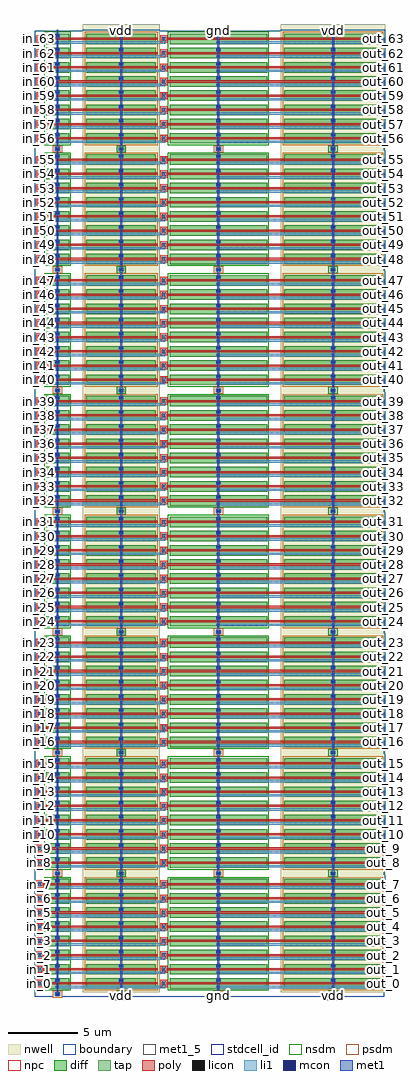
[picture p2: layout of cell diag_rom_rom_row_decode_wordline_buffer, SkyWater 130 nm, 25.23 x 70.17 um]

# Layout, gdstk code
from math import pi, radians
import gdstk
lib = gdstk.Library(unit=1e-6, precision=1e-09)
def R(c, l, rs):  # rectangles x0, y0, x1, y1
    for r in rs: c.add(gdstk.rectangle(r[:2], r[2:], *l))
def A(c, l, x, y, w, h, nx, ny, dx, dy):  # array of equal rectangles
    R(c, l, [(x+i*dx, y+j*dy, x+i*dx+w, y+j*dy+h) for i in range(nx) for j in range(ny)])
nwell = (64, 20)
diff = (65, 20)
tap = (65, 44)
poly = (66, 20)
licon = (66, 44)
li1 = (67, 20)
mcon = (67, 44)
met1_5 = (68, 5)
met1 = (68, 20)
stdcell_id = (81, 4)
nsdm = (93, 44)
psdm = (94, 20)
npc = (95, 20)
boundary = (235, 4)

diag_rom_contact_10 = lib.new_cell('diag_rom_contact_10')
R(diag_rom_contact_10, nwell, [(-0.295,-0.255,0.545,0.585)])
R(diag_rom_contact_10, diff, [(0,0.02,0.25,0.31)])
R(diag_rom_contact_10, licon, [(0.04,0.08,0.21,0.25)])
R(diag_rom_contact_10, li1, [(0.04,0,0.21,0.33)])
R(diag_rom_contact_10, stdcell_id, [(-0.295,-0.255,0.545,0.585)])
R(diag_rom_contact_10, psdm, [(-0.125,-0.105,0.375,0.435)])
R(diag_rom_contact_10, boundary, [(-0.295,-0.255,0.545,0.585)])

diag_rom_pmos_m1_w5_000_ = lib.new_cell('diag_rom_pmos_m1_w5_000_sli_dli_da_p')
R(diag_rom_pmos_m1_w5_000_, nwell, [(-0.27,-0.27,1.02,5.27)])
R(diag_rom_pmos_m1_w5_000_, diff, [(0,0,0.75,5)])
R(diag_rom_pmos_m1_w5_000_, poly, [(0.3,-0.13,0.45,5.13), (0.3,-0.13,0.45,5.13)])
R(diag_rom_pmos_m1_w5_000_, li1, [(0.04,2.335,0.21,2.665), (0.54,2.335,0.71,2.665)])
R(diag_rom_pmos_m1_w5_000_, stdcell_id, [(-0.27,-0.27,1.02,5.27)])
R(diag_rom_pmos_m1_w5_000_, psdm, [(-0.125,-0.125,0.875,5.125)])
R(diag_rom_pmos_m1_w5_000_, boundary, [(-0.27,-0.27,1.02,5.27)])
diag_rom_pmos_m1_w5_000_.add(gdstk.Reference(diag_rom_contact_10, (0,2.335)))
diag_rom_pmos_m1_w5_000_.add(gdstk.Reference(diag_rom_contact_10, (0.5,2.335)))
diag_rom_pmos_m1_w5_000_.add(gdstk.Label('G', (0.375,2.5), layer=66, texttype=5))
diag_rom_pmos_m1_w5_000_.add(gdstk.Label('S', (0.125,2.5), layer=67, texttype=5))
diag_rom_pmos_m1_w5_000_.add(gdstk.Label('D', (0.625,2.5), layer=67, texttype=5))

diag_rom_contact_8 = lib.new_cell('diag_rom_contact_8')
R(diag_rom_contact_8, diff, [(0,0.02,0.25,0.31)])
R(diag_rom_contact_8, licon, [(0.04,0.08,0.21,0.25)])
R(diag_rom_contact_8, li1, [(0.04,0,0.21,0.33)])
R(diag_rom_contact_8, stdcell_id, [(-0.125,-0.105,0.375,0.435)])
R(diag_rom_contact_8, nsdm, [(-0.125,-0.105,0.375,0.435)])
R(diag_rom_contact_8, boundary, [(-0.125,-0.105,0.375,0.435)])

diag_rom_nmos_m1_w1_680_ = lib.new_cell('diag_rom_nmos_m1_w1_680_sli_dli_da_p')
R(diag_rom_nmos_m1_w1_680_, diff, [(0,0,0.75,1.68)])
R(diag_rom_nmos_m1_w1_680_, poly, [(0.3,-0.13,0.45,1.81), (0.3,-0.13,0.45,1.81)])
R(diag_rom_nmos_m1_w1_680_, li1, [(0.04,0.675,0.21,1.005), (0.54,0.675,0.71,1.005)])
R(diag_rom_nmos_m1_w1_680_, stdcell_id, [(-0.125,-0.13,0.875,1.81)])
R(diag_rom_nmos_m1_w1_680_, nsdm, [(-0.125,-0.125,0.875,1.805)])
R(diag_rom_nmos_m1_w1_680_, boundary, [(-0.125,-0.13,0.875,1.81)])
diag_rom_nmos_m1_w1_680_.add(gdstk.Reference(diag_rom_contact_8, (0,0.675)))
diag_rom_nmos_m1_w1_680_.add(gdstk.Reference(diag_rom_contact_8, (0.5,0.675)))
diag_rom_nmos_m1_w1_680_.add(gdstk.Label('G', (0.375,0.84), layer=66, texttype=5))
diag_rom_nmos_m1_w1_680_.add(gdstk.Label('S', (0.125,0.84), layer=67, texttype=5))
diag_rom_nmos_m1_w1_680_.add(gdstk.Label('D', (0.625,0.84), layer=67, texttype=5))

diag_rom_contact_11 = lib.new_cell('diag_rom_contact_11')
R(diag_rom_contact_11, poly, [(0,0,0.33,0.33)])
R(diag_rom_contact_11, licon, [(0.08,0.08,0.25,0.25)])
R(diag_rom_contact_11, li1, [(0.08,0,0.25,0.33)])
R(diag_rom_contact_11, stdcell_id, [(-0.1,-0.1,0.43,0.43)])
R(diag_rom_contact_11, npc, [(-0.1,-0.1,0.43,0.43)])
R(diag_rom_contact_11, boundary, [(-0.1,-0.1,0.43,0.43)])

diag_rom_contact_12 = lib.new_cell('diag_rom_contact_12')
R(diag_rom_contact_12, li1, [(0.06,0,0.23,0.33)])
R(diag_rom_contact_12, mcon, [(0.06,0.08,0.23,0.25)])
R(diag_rom_contact_12, met1, [(0,0.05,0.29,0.28)])
R(diag_rom_contact_12, stdcell_id, [(0,0,0.29,0.33)])
R(diag_rom_contact_12, boundary, [(0,0,0.29,0.33)])

diag_rom_pinv_dec_0 = lib.new_cell('diag_rom_pinv_dec_0')
R(diag_rom_pinv_dec_0, nwell, [(3.46,0,9,1.495)])
R(diag_rom_pinv_dec_0, poly, [(0.385,0.345,0.68,0.495), (2.62,0.345,3.6,0.495)])
R(diag_rom_pinv_dec_0, li1, [(1.485,0.085,8.91,0.255), (0.3,0.255,0.47,0.585)])
R(diag_rom_pinv_dec_0, met1_5, [(1.58,0,1.72,1.02), (6.16,0,6.3,1.02)])
R(diag_rom_pinv_dec_0, met1, [(1.58,0,1.72,1.02), (6.16,0,6.3,1.02)])
R(diag_rom_pinv_dec_0, stdcell_id, [(0,0,8.91,1.02), (0,0,8.91,1.02)])
R(diag_rom_pinv_dec_0, nsdm, [(0.685,0,2.615,0.795)])
R(diag_rom_pinv_dec_0, psdm, [(3.605,0,8.855,0.795)])
R(diag_rom_pinv_dec_0, boundary, [(0,0,8.91,1.02), (0,0,8.91,1.02)])
diag_rom_pinv_dec_0.add(gdstk.Reference(diag_rom_pmos_m1_w5_000_, (3.73,0.795), rotation=3*pi/2))
diag_rom_pinv_dec_0.add(gdstk.Reference(diag_rom_nmos_m1_w1_680_, (0.81,0.795), rotation=3*pi/2))
diag_rom_pinv_dec_0.add(gdstk.Reference(diag_rom_contact_11, (0.22,0.255)))
diag_rom_pinv_dec_0.add(gdstk.Reference(diag_rom_contact_12, (1.505,0.505)))
diag_rom_pinv_dec_0.add(gdstk.Reference(diag_rom_contact_12, (6.085,0.505)))
diag_rom_pinv_dec_0.add(gdstk.Label('A', (0.385,0.42), layer=67, texttype=5))
diag_rom_pinv_dec_0.add(gdstk.Label('Z', (5.198,0.17), layer=67, texttype=5))
diag_rom_pinv_dec_0.add(gdstk.Label('gnd', (1.65,0.51), layer=68, texttype=5))
diag_rom_pinv_dec_0.add(gdstk.Label('vdd', (6.23,0.51), layer=68, texttype=5))

diag_rom_pmos_m1_w7_000_ = lib.new_cell('diag_rom_pmos_m1_w7_000_sli_dli_da_p')
R(diag_rom_pmos_m1_w7_000_, nwell, [(-0.27,-0.27,1.02,7.27)])
R(diag_rom_pmos_m1_w7_000_, diff, [(0,0,0.75,7)])
R(diag_rom_pmos_m1_w7_000_, poly, [(0.3,-0.13,0.45,7.13), (0.3,-0.13,0.45,7.13)])
R(diag_rom_pmos_m1_w7_000_, li1, [(0.04,3.335,0.21,3.665), (0.54,3.335,0.71,3.665)])
R(diag_rom_pmos_m1_w7_000_, stdcell_id, [(-0.27,-0.27,1.02,7.27)])
R(diag_rom_pmos_m1_w7_000_, psdm, [(-0.125,-0.125,0.875,7.125)])
R(diag_rom_pmos_m1_w7_000_, boundary, [(-0.27,-0.27,1.02,7.27)])
diag_rom_pmos_m1_w7_000_.add(gdstk.Reference(diag_rom_contact_10, (0,3.335)))
diag_rom_pmos_m1_w7_000_.add(gdstk.Reference(diag_rom_contact_10, (0.5,3.335)))
diag_rom_pmos_m1_w7_000_.add(gdstk.Label('G', (0.375,3.5), layer=66, texttype=5))
diag_rom_pmos_m1_w7_000_.add(gdstk.Label('S', (0.125,3.5), layer=67, texttype=5))
diag_rom_pmos_m1_w7_000_.add(gdstk.Label('D', (0.625,3.5), layer=67, texttype=5))

diag_rom_nmos_m1_w7_000_ = lib.new_cell('diag_rom_nmos_m1_w7_000_sli_dli_da_p')
R(diag_rom_nmos_m1_w7_000_, diff, [(0,0,0.75,7)])
R(diag_rom_nmos_m1_w7_000_, poly, [(0.3,-0.13,0.45,7.13), (0.3,-0.13,0.45,7.13)])
R(diag_rom_nmos_m1_w7_000_, li1, [(0.04,3.335,0.21,3.665), (0.54,3.335,0.71,3.665)])
R(diag_rom_nmos_m1_w7_000_, stdcell_id, [(-0.125,-0.13,0.875,7.13)])
R(diag_rom_nmos_m1_w7_000_, nsdm, [(-0.125,-0.125,0.875,7.125)])
R(diag_rom_nmos_m1_w7_000_, boundary, [(-0.125,-0.13,0.875,7.13)])
diag_rom_nmos_m1_w7_000_.add(gdstk.Reference(diag_rom_contact_8, (0,3.335)))
diag_rom_nmos_m1_w7_000_.add(gdstk.Reference(diag_rom_contact_8, (0.5,3.335)))
diag_rom_nmos_m1_w7_000_.add(gdstk.Label('G', (0.375,3.5), layer=66, texttype=5))
diag_rom_nmos_m1_w7_000_.add(gdstk.Label('S', (0.125,3.5), layer=67, texttype=5))
diag_rom_nmos_m1_w7_000_.add(gdstk.Label('D', (0.625,3.5), layer=67, texttype=5))

diag_rom_pinv_dec_1 = lib.new_cell('diag_rom_pinv_dec_1')
R(diag_rom_pinv_dec_1, nwell, [(8.78,0,16.32,1.495)])
R(diag_rom_pinv_dec_1, poly, [(0.385,0.345,0.68,0.495), (7.94,0.345,8.92,0.495)])
R(diag_rom_pinv_dec_1, li1, [(4.145,0.085,16.23,0.255), (0.3,0.255,0.47,0.585)])
R(diag_rom_pinv_dec_1, met1_5, [(4.24,0,4.38,1.02), (12.48,0,12.62,1.02)])
R(diag_rom_pinv_dec_1, met1, [(4.24,0,4.38,1.02), (12.48,0,12.62,1.02)])
R(diag_rom_pinv_dec_1, stdcell_id, [(0,0,16.23,1.02), (0,0,16.23,1.02)])
R(diag_rom_pinv_dec_1, nsdm, [(0.685,0,7.935,0.795)])
R(diag_rom_pinv_dec_1, psdm, [(8.925,0,16.175,0.795)])
R(diag_rom_pinv_dec_1, boundary, [(0,0,16.23,1.02), (0,0,16.23,1.02)])
diag_rom_pinv_dec_1.add(gdstk.Reference(diag_rom_pmos_m1_w7_000_, (9.05,0.795), rotation=3*pi/2))
diag_rom_pinv_dec_1.add(gdstk.Reference(diag_rom_nmos_m1_w7_000_, (0.81,0.795), rotation=3*pi/2))
diag_rom_pinv_dec_1.add(gdstk.Reference(diag_rom_contact_11, (0.22,0.255)))
diag_rom_pinv_dec_1.add(gdstk.Reference(diag_rom_contact_12, (4.165,0.505)))
diag_rom_pinv_dec_1.add(gdstk.Reference(diag_rom_contact_12, (12.405,0.505)))
diag_rom_pinv_dec_1.add(gdstk.Label('A', (0.385,0.42), layer=67, texttype=5))
diag_rom_pinv_dec_1.add(gdstk.Label('Z', (10.188,0.17), layer=67, texttype=5))
diag_rom_pinv_dec_1.add(gdstk.Label('gnd', (4.31,0.51), layer=68, texttype=5))
diag_rom_pinv_dec_1.add(gdstk.Label('vdd', (12.55,0.51), layer=68, texttype=5))

diag_rom_pbuf_dec = lib.new_cell('diag_rom_pbuf_dec')
R(diag_rom_pbuf_dec, li1, [(8.91,0.085,9.295,0.255), (9.21,0.085,9.38,0.255), (13.055,0.085,25.14,0.255), (9.21,0.17,9.38,0.42), (0.3,0.255,0.47,0.585), (9.21,0.335,9.38,0.505), (9.21,0.335,9.295,0.505)])
R(diag_rom_pbuf_dec, met1_5, [(1.58,0,1.72,1.02), (6.16,0,6.3,1.02), (13.15,0,13.29,1.02), (21.39,0,21.53,1.02)])
R(diag_rom_pbuf_dec, met1, [(1.58,0,1.72,1.02), (6.16,0,6.3,1.02), (13.15,0,13.29,1.02), (21.39,0,21.53,1.02)])
R(diag_rom_pbuf_dec, stdcell_id, [(0,0,25.14,1.02), (0,0,25.14,1.02)])
R(diag_rom_pbuf_dec, boundary, [(0,0,25.14,1.02), (0,0,25.14,1.02)])
diag_rom_pbuf_dec.add(gdstk.Reference(diag_rom_pinv_dec_0, (0,0)))
diag_rom_pbuf_dec.add(gdstk.Reference(diag_rom_pinv_dec_1, (8.91,0)))
diag_rom_pbuf_dec.add(gdstk.Label('Z', (19.098,0.17), layer=67, texttype=5))
diag_rom_pbuf_dec.add(gdstk.Label('A', (0.385,0.42), layer=67, texttype=5))
diag_rom_pbuf_dec.add(gdstk.Label('vdd', (6.23,0.51), layer=68, texttype=5))
diag_rom_pbuf_dec.add(gdstk.Label('vdd', (21.46,0.51), layer=68, texttype=5))
diag_rom_pbuf_dec.add(gdstk.Label('gnd', (1.65,0.51), layer=68, texttype=5))
diag_rom_pbuf_dec.add(gdstk.Label('gnd', (13.22,0.51), layer=68, texttype=5))

diag_rom_contact_15 = lib.new_cell('diag_rom_contact_15')
R(diag_rom_contact_15, nwell, [(-0.215,-0.295,0.625,0.545)])
R(diag_rom_contact_15, tap, [(0,0,0.41,0.25)])
R(diag_rom_contact_15, licon, [(0.12,0.04,0.29,0.21)])
R(diag_rom_contact_15, li1, [(0.04,0.04,0.37,0.21)])
R(diag_rom_contact_15, stdcell_id, [(-0.215,-0.295,0.625,0.545)])
R(diag_rom_contact_15, nsdm, [(-0.125,-0.125,0.535,0.375)])
R(diag_rom_contact_15, boundary, [(-0.215,-0.295,0.625,0.545)])

diag_rom_contact_17 = lib.new_cell('diag_rom_contact_17')
R(diag_rom_contact_17, li1, [(0,0.06,0.33,0.23)])
R(diag_rom_contact_17, mcon, [(0.08,0.06,0.25,0.23)])
R(diag_rom_contact_17, met1, [(0.05,0,0.28,0.29)])
R(diag_rom_contact_17, stdcell_id, [(0,0,0.33,0.29)])
R(diag_rom_contact_17, boundary, [(0,0,0.33,0.29)])

diag_rom_contact_16 = lib.new_cell('diag_rom_contact_16')
R(diag_rom_contact_16, tap, [(0,0,0.41,0.25)])
R(diag_rom_contact_16, licon, [(0.12,0.04,0.29,0.21)])
R(diag_rom_contact_16, li1, [(0.04,0.04,0.37,0.21)])
R(diag_rom_contact_16, stdcell_id, [(-0.125,-0.125,0.535,0.375)])
R(diag_rom_contact_16, psdm, [(-0.125,-0.125,0.535,0.375)])
R(diag_rom_contact_16, boundary, [(-0.125,-0.125,0.535,0.375)])

diag_rom_rom_row_decode_ = lib.new_cell('diag_rom_rom_row_decode_wordline_buffer')
A(diag_rom_rom_row_decode_, li1, 24.97, 0.69, 0.17, 0.335, 1, 8, 0, 1.02)
A(diag_rom_rom_row_decode_, li1, 0.3, 0.775, 0.17, 0.33, 1, 8, 0, 1.02)
A(diag_rom_rom_row_decode_, li1, 24.97, 0.855, 0.17, 0.17, 1, 8, 0, 1.02)
A(diag_rom_rom_row_decode_, li1, 24.97, 9.37, 0.17, 0.335, 1, 8, 0, 1.02)
A(diag_rom_rom_row_decode_, li1, 0.3, 9.455, 0.17, 0.33, 1, 8, 0, 1.02)
A(diag_rom_rom_row_decode_, li1, 24.97, 9.535, 0.17, 0.17, 1, 8, 0, 1.02)
A(diag_rom_rom_row_decode_, li1, 24.97, 18.05, 0.17, 0.335, 1, 8, 0, 1.02)
A(diag_rom_rom_row_decode_, li1, 0.3, 18.135, 0.17, 0.33, 1, 8, 0, 1.02)
A(diag_rom_rom_row_decode_, li1, 24.97, 18.215, 0.17, 0.17, 1, 8, 0, 1.02)
A(diag_rom_rom_row_decode_, li1, 24.97, 26.73, 0.17, 0.335, 1, 8, 0, 1.02)
A(diag_rom_rom_row_decode_, li1, 0.3, 26.815, 0.17, 0.33, 1, 8, 0, 1.02)
A(diag_rom_rom_row_decode_, li1, 24.97, 26.895, 0.17, 0.17, 1, 8, 0, 1.02)
A(diag_rom_rom_row_decode_, li1, 24.97, 35.41, 0.17, 0.335, 1, 8, 0, 1.02)
A(diag_rom_rom_row_decode_, li1, 0.3, 35.495, 0.17, 0.33, 1, 8, 0, 1.02)
A(diag_rom_rom_row_decode_, li1, 24.97, 35.575, 0.17, 0.17, 1, 8, 0, 1.02)
A(diag_rom_rom_row_decode_, li1, 24.97, 44.09, 0.17, 0.335, 1, 8, 0, 1.02)
A(diag_rom_rom_row_decode_, li1, 0.3, 44.175, 0.17, 0.33, 1, 8, 0, 1.02)
A(diag_rom_rom_row_decode_, li1, 24.97, 44.255, 0.17, 0.17, 1, 8, 0, 1.02)
A(diag_rom_rom_row_decode_, li1, 24.97, 52.77, 0.17, 0.335, 1, 8, 0, 1.02)
A(diag_rom_rom_row_decode_, li1, 0.3, 52.855, 0.17, 0.33, 1, 8, 0, 1.02)
A(diag_rom_rom_row_decode_, li1, 24.97, 52.935, 0.17, 0.17, 1, 8, 0, 1.02)
A(diag_rom_rom_row_decode_, li1, 24.97, 61.45, 0.17, 0.335, 1, 8, 0, 1.02)
A(diag_rom_rom_row_decode_, li1, 0.3, 61.535, 0.17, 0.33, 1, 8, 0, 1.02)
A(diag_rom_rom_row_decode_, li1, 24.97, 61.615, 0.17, 0.17, 1, 8, 0, 1.02)
R(diag_rom_rom_row_decode_, met1_5, [(1.58,0.03,1.72,0.17), (6.16,0.03,6.3,0.17), (13.15,0.03,13.29,0.17), (21.39,0.03,21.53,0.17), (1.58,69.37,1.72,69.51), (6.16,69.37,6.3,69.51), (13.15,69.37,13.29,69.51), (21.39,69.37,21.53,69.51)])
A(diag_rom_rom_row_decode_, met1, 1.58, 0.96, 0.14, 0.14, 1, 8, 0, 1.02)
A(diag_rom_rom_row_decode_, met1, 6.16, 0.96, 0.14, 0.14, 1, 8, 0, 1.02)
A(diag_rom_rom_row_decode_, met1, 13.15, 0.96, 0.14, 0.14, 1, 8, 0, 1.02)
A(diag_rom_rom_row_decode_, met1, 21.39, 0.96, 0.14, 0.14, 1, 8, 0, 1.02)
A(diag_rom_rom_row_decode_, met1, 1.58, 9.64, 0.14, 0.14, 1, 8, 0, 1.02)
A(diag_rom_rom_row_decode_, met1, 6.16, 9.64, 0.14, 0.14, 1, 8, 0, 1.02)
A(diag_rom_rom_row_decode_, met1, 13.15, 9.64, 0.14, 0.14, 1, 8, 0, 1.02)
A(diag_rom_rom_row_decode_, met1, 21.39, 9.64, 0.14, 0.14, 1, 8, 0, 1.02)
A(diag_rom_rom_row_decode_, met1, 1.58, 18.32, 0.14, 0.14, 1, 8, 0, 1.02)
A(diag_rom_rom_row_decode_, met1, 6.16, 18.32, 0.14, 0.14, 1, 8, 0, 1.02)
A(diag_rom_rom_row_decode_, met1, 13.15, 18.32, 0.14, 0.14, 1, 8, 0, 1.02)
A(diag_rom_rom_row_decode_, met1, 21.39, 18.32, 0.14, 0.14, 1, 8, 0, 1.02)
A(diag_rom_rom_row_decode_, met1, 1.58, 27, 0.14, 0.14, 1, 8, 0, 1.02)
A(diag_rom_rom_row_decode_, met1, 6.16, 27, 0.14, 0.14, 1, 8, 0, 1.02)
A(diag_rom_rom_row_decode_, met1, 13.15, 27, 0.14, 0.14, 1, 8, 0, 1.02)
A(diag_rom_rom_row_decode_, met1, 21.39, 27, 0.14, 0.14, 1, 8, 0, 1.02)
A(diag_rom_rom_row_decode_, met1, 1.58, 35.68, 0.14, 0.14, 1, 8, 0, 1.02)
A(diag_rom_rom_row_decode_, met1, 6.16, 35.68, 0.14, 0.14, 1, 8, 0, 1.02)
A(diag_rom_rom_row_decode_, met1, 13.15, 35.68, 0.14, 0.14, 1, 8, 0, 1.02)
A(diag_rom_rom_row_decode_, met1, 21.39, 35.68, 0.14, 0.14, 1, 8, 0, 1.02)
A(diag_rom_rom_row_decode_, met1, 1.58, 44.36, 0.14, 0.14, 1, 8, 0, 1.02)
A(diag_rom_rom_row_decode_, met1, 6.16, 44.36, 0.14, 0.14, 1, 8, 0, 1.02)
A(diag_rom_rom_row_decode_, met1, 13.15, 44.36, 0.14, 0.14, 1, 8, 0, 1.02)
A(diag_rom_rom_row_decode_, met1, 21.39, 44.36, 0.14, 0.14, 1, 8, 0, 1.02)
A(diag_rom_rom_row_decode_, met1, 1.58, 53.04, 0.14, 0.14, 1, 8, 0, 1.02)
A(diag_rom_rom_row_decode_, met1, 6.16, 53.04, 0.14, 0.14, 1, 8, 0, 1.02)
A(diag_rom_rom_row_decode_, met1, 13.15, 53.04, 0.14, 0.14, 1, 8, 0, 1.02)
A(diag_rom_rom_row_decode_, met1, 21.39, 53.04, 0.14, 0.14, 1, 8, 0, 1.02)
A(diag_rom_rom_row_decode_, met1, 1.58, 61.72, 0.14, 0.14, 1, 8, 0, 1.02)
A(diag_rom_rom_row_decode_, met1, 6.16, 61.72, 0.14, 0.14, 1, 8, 0, 1.02)
A(diag_rom_rom_row_decode_, met1, 13.15, 61.72, 0.14, 0.14, 1, 8, 0, 1.02)
A(diag_rom_rom_row_decode_, met1, 21.39, 61.72, 0.14, 0.14, 1, 8, 0, 1.02)
R(diag_rom_rom_row_decode_, met1, [(1.58,0.03,1.72,0.17), (1.58,0.03,1.72,69.51), (6.16,0.03,6.3,0.17), (6.16,0.03,6.3,69.51), (13.15,0.03,13.29,0.17), (13.15,0.03,13.29,69.51), (21.39,0.03,21.53,0.17), (21.39,0.03,21.53,69.51), (1.58,0.1,1.72,0.24), (6.16,0.1,6.3,0.24), (13.15,0.1,13.29,0.24), (21.39,0.1,21.53,0.24), (1.58,8.78,1.72,8.92), (6.16,8.78,6.3,8.92), (13.15,8.78,13.29,8.92), (21.39,8.78,21.53,8.92), (1.58,17.46,1.72,17.6), (6.16,17.46,6.3,17.6), (13.15,17.46,13.29,17.6), (21.39,17.46,21.53,17.6), (1.58,26.14,1.72,26.28), (6.16,26.14,6.3,26.28), (13.15,26.14,13.29,26.28), (21.39,26.14,21.53,26.28), (1.58,34.82,1.72,34.96), (6.16,34.82,6.3,34.96), (13.15,34.82,13.29,34.96), (21.39,34.82,21.53,34.96), (1.58,43.5,1.72,43.64), (6.16,43.5,6.3,43.64), (13.15,43.5,13.29,43.64), (21.39,43.5,21.53,43.64), (1.58,52.18,1.72,52.32), (6.16,52.18,6.3,52.32), (13.15,52.18,13.29,52.32), (21.39,52.18,21.53,52.32), (1.58,60.86,1.72,61), (6.16,60.86,6.3,61), (13.15,60.86,13.29,61), (21.39,60.86,21.53,61), (1.58,69.37,1.72,69.51), (6.16,69.37,6.3,69.51), (13.15,69.37,13.29,69.51), (21.39,69.37,21.53,69.51)])
R(diag_rom_rom_row_decode_, stdcell_id, [(0,0,25.14,65.28)])
R(diag_rom_rom_row_decode_, boundary, [(0,0,25.14,65.28)])
diag_rom_rom_row_decode_.add(gdstk.Reference(diag_rom_pbuf_dec, (0,0.52)))
diag_rom_rom_row_decode_.add(gdstk.Reference(diag_rom_pbuf_dec, (0,1.54)))
diag_rom_rom_row_decode_.add(gdstk.Reference(diag_rom_pbuf_dec, (0,2.56)))
diag_rom_rom_row_decode_.add(gdstk.Reference(diag_rom_pbuf_dec, (0,3.58)))
diag_rom_rom_row_decode_.add(gdstk.Reference(diag_rom_pbuf_dec, (0,4.6)))
diag_rom_rom_row_decode_.add(gdstk.Reference(diag_rom_pbuf_dec, (0,5.62)))
diag_rom_rom_row_decode_.add(gdstk.Reference(diag_rom_pbuf_dec, (0,6.64)))
diag_rom_rom_row_decode_.add(gdstk.Reference(diag_rom_pbuf_dec, (0,7.66)))
diag_rom_rom_row_decode_.add(gdstk.Reference(diag_rom_pbuf_dec, (0,9.2)))
diag_rom_rom_row_decode_.add(gdstk.Reference(diag_rom_pbuf_dec, (0,10.22)))
diag_rom_rom_row_decode_.add(gdstk.Reference(diag_rom_pbuf_dec, (0,11.24)))
diag_rom_rom_row_decode_.add(gdstk.Reference(diag_rom_pbuf_dec, (0,12.26)))
diag_rom_rom_row_decode_.add(gdstk.Reference(diag_rom_pbuf_dec, (0,13.28)))
diag_rom_rom_row_decode_.add(gdstk.Reference(diag_rom_pbuf_dec, (0,14.3)))
diag_rom_rom_row_decode_.add(gdstk.Reference(diag_rom_pbuf_dec, (0,15.32)))
diag_rom_rom_row_decode_.add(gdstk.Reference(diag_rom_pbuf_dec, (0,16.34)))
diag_rom_rom_row_decode_.add(gdstk.Reference(diag_rom_pbuf_dec, (0,17.88)))
diag_rom_rom_row_decode_.add(gdstk.Reference(diag_rom_pbuf_dec, (0,18.9)))
diag_rom_rom_row_decode_.add(gdstk.Reference(diag_rom_pbuf_dec, (0,19.92)))
diag_rom_rom_row_decode_.add(gdstk.Reference(diag_rom_pbuf_dec, (0,20.94)))
diag_rom_rom_row_decode_.add(gdstk.Reference(diag_rom_pbuf_dec, (0,21.96)))
diag_rom_rom_row_decode_.add(gdstk.Reference(diag_rom_pbuf_dec, (0,22.98)))
diag_rom_rom_row_decode_.add(gdstk.Reference(diag_rom_pbuf_dec, (0,24)))
diag_rom_rom_row_decode_.add(gdstk.Reference(diag_rom_pbuf_dec, (0,25.02)))
diag_rom_rom_row_decode_.add(gdstk.Reference(diag_rom_pbuf_dec, (0,26.56)))
diag_rom_rom_row_decode_.add(gdstk.Reference(diag_rom_pbuf_dec, (0,27.58)))
diag_rom_rom_row_decode_.add(gdstk.Reference(diag_rom_pbuf_dec, (0,28.6)))
diag_rom_rom_row_decode_.add(gdstk.Reference(diag_rom_pbuf_dec, (0,29.62)))
diag_rom_rom_row_decode_.add(gdstk.Reference(diag_rom_pbuf_dec, (0,30.64)))
diag_rom_rom_row_decode_.add(gdstk.Reference(diag_rom_pbuf_dec, (0,31.66)))
diag_rom_rom_row_decode_.add(gdstk.Reference(diag_rom_pbuf_dec, (0,32.68)))
diag_rom_rom_row_decode_.add(gdstk.Reference(diag_rom_pbuf_dec, (0,33.7)))
diag_rom_rom_row_decode_.add(gdstk.Reference(diag_rom_pbuf_dec, (0,35.24)))
diag_rom_rom_row_decode_.add(gdstk.Reference(diag_rom_pbuf_dec, (0,36.26)))
diag_rom_rom_row_decode_.add(gdstk.Reference(diag_rom_pbuf_dec, (0,37.28)))
diag_rom_rom_row_decode_.add(gdstk.Reference(diag_rom_pbuf_dec, (0,38.3)))
diag_rom_rom_row_decode_.add(gdstk.Reference(diag_rom_pbuf_dec, (0,39.32)))
diag_rom_rom_row_decode_.add(gdstk.Reference(diag_rom_pbuf_dec, (0,40.34)))
diag_rom_rom_row_decode_.add(gdstk.Reference(diag_rom_pbuf_dec, (0,41.36)))
diag_rom_rom_row_decode_.add(gdstk.Reference(diag_rom_pbuf_dec, (0,42.38)))
diag_rom_rom_row_decode_.add(gdstk.Reference(diag_rom_pbuf_dec, (0,43.92)))
diag_rom_rom_row_decode_.add(gdstk.Reference(diag_rom_pbuf_dec, (0,44.94)))
diag_rom_rom_row_decode_.add(gdstk.Reference(diag_rom_pbuf_dec, (0,45.96)))
diag_rom_rom_row_decode_.add(gdstk.Reference(diag_rom_pbuf_dec, (0,46.98)))
diag_rom_rom_row_decode_.add(gdstk.Reference(diag_rom_pbuf_dec, (0,48)))
diag_rom_rom_row_decode_.add(gdstk.Reference(diag_rom_pbuf_dec, (0,49.02)))
diag_rom_rom_row_decode_.add(gdstk.Reference(diag_rom_pbuf_dec, (0,50.04)))
diag_rom_rom_row_decode_.add(gdstk.Reference(diag_rom_pbuf_dec, (0,51.06)))
diag_rom_rom_row_decode_.add(gdstk.Reference(diag_rom_pbuf_dec, (0,52.6)))
diag_rom_rom_row_decode_.add(gdstk.Reference(diag_rom_pbuf_dec, (0,53.62)))
diag_rom_rom_row_decode_.add(gdstk.Reference(diag_rom_pbuf_dec, (0,54.64)))
diag_rom_rom_row_decode_.add(gdstk.Reference(diag_rom_pbuf_dec, (0,55.66)))
diag_rom_rom_row_decode_.add(gdstk.Reference(diag_rom_pbuf_dec, (0,56.68)))
diag_rom_rom_row_decode_.add(gdstk.Reference(diag_rom_pbuf_dec, (0,57.7)))
diag_rom_rom_row_decode_.add(gdstk.Reference(diag_rom_pbuf_dec, (0,58.72)))
diag_rom_rom_row_decode_.add(gdstk.Reference(diag_rom_pbuf_dec, (0,59.74)))
diag_rom_rom_row_decode_.add(gdstk.Reference(diag_rom_pbuf_dec, (0,61.28)))
diag_rom_rom_row_decode_.add(gdstk.Reference(diag_rom_pbuf_dec, (0,62.3)))
diag_rom_rom_row_decode_.add(gdstk.Reference(diag_rom_pbuf_dec, (0,63.32)))
diag_rom_rom_row_decode_.add(gdstk.Reference(diag_rom_pbuf_dec, (0,64.34)))
diag_rom_rom_row_decode_.add(gdstk.Reference(diag_rom_pbuf_dec, (0,65.36)))
diag_rom_rom_row_decode_.add(gdstk.Reference(diag_rom_pbuf_dec, (0,66.38)))
diag_rom_rom_row_decode_.add(gdstk.Reference(diag_rom_pbuf_dec, (0,67.4)))
diag_rom_rom_row_decode_.add(gdstk.Reference(diag_rom_pbuf_dec, (0,68.42)))
diag_rom_rom_row_decode_.add(gdstk.Reference(diag_rom_contact_15, (6.025,0.045)))
diag_rom_rom_row_decode_.add(gdstk.Reference(diag_rom_contact_17, (6.065,0.025)))
diag_rom_rom_row_decode_.add(gdstk.Reference(diag_rom_contact_16, (1.445,0.045)))
diag_rom_rom_row_decode_.add(gdstk.Reference(diag_rom_contact_17, (1.485,0.025)))
diag_rom_rom_row_decode_.add(gdstk.Reference(diag_rom_contact_15, (21.255,0.045)))
diag_rom_rom_row_decode_.add(gdstk.Reference(diag_rom_contact_17, (21.295,0.025)))
diag_rom_rom_row_decode_.add(gdstk.Reference(diag_rom_contact_16, (13.015,0.045)))
diag_rom_rom_row_decode_.add(gdstk.Reference(diag_rom_contact_17, (13.055,0.025)))
diag_rom_rom_row_decode_.add(gdstk.Reference(diag_rom_contact_15, (6.025,8.725)))
diag_rom_rom_row_decode_.add(gdstk.Reference(diag_rom_contact_17, (6.065,8.705)))
diag_rom_rom_row_decode_.add(gdstk.Reference(diag_rom_contact_16, (1.445,8.725)))
diag_rom_rom_row_decode_.add(gdstk.Reference(diag_rom_contact_17, (1.485,8.705)))
diag_rom_rom_row_decode_.add(gdstk.Reference(diag_rom_contact_15, (21.255,8.725)))
diag_rom_rom_row_decode_.add(gdstk.Reference(diag_rom_contact_17, (21.295,8.705)))
diag_rom_rom_row_decode_.add(gdstk.Reference(diag_rom_contact_16, (13.015,8.725)))
diag_rom_rom_row_decode_.add(gdstk.Reference(diag_rom_contact_17, (13.055,8.705)))
diag_rom_rom_row_decode_.add(gdstk.Reference(diag_rom_contact_15, (6.025,17.405)))
diag_rom_rom_row_decode_.add(gdstk.Reference(diag_rom_contact_17, (6.065,17.385)))
diag_rom_rom_row_decode_.add(gdstk.Reference(diag_rom_contact_16, (1.445,17.405)))
diag_rom_rom_row_decode_.add(gdstk.Reference(diag_rom_contact_17, (1.485,17.385)))
diag_rom_rom_row_decode_.add(gdstk.Reference(diag_rom_contact_15, (21.255,17.405)))
diag_rom_rom_row_decode_.add(gdstk.Reference(diag_rom_contact_17, (21.295,17.385)))
diag_rom_rom_row_decode_.add(gdstk.Reference(diag_rom_contact_16, (13.015,17.405)))
diag_rom_rom_row_decode_.add(gdstk.Reference(diag_rom_contact_17, (13.055,17.385)))
diag_rom_rom_row_decode_.add(gdstk.Reference(diag_rom_contact_15, (6.025,26.085)))
diag_rom_rom_row_decode_.add(gdstk.Reference(diag_rom_contact_17, (6.065,26.065)))
diag_rom_rom_row_decode_.add(gdstk.Reference(diag_rom_contact_16, (1.445,26.085)))
diag_rom_rom_row_decode_.add(gdstk.Reference(diag_rom_contact_17, (1.485,26.065)))
diag_rom_rom_row_decode_.add(gdstk.Reference(diag_rom_contact_15, (21.255,26.085)))
diag_rom_rom_row_decode_.add(gdstk.Reference(diag_rom_contact_17, (21.295,26.065)))
diag_rom_rom_row_decode_.add(gdstk.Reference(diag_rom_contact_16, (13.015,26.085)))
diag_rom_rom_row_decode_.add(gdstk.Reference(diag_rom_contact_17, (13.055,26.065)))
diag_rom_rom_row_decode_.add(gdstk.Reference(diag_rom_contact_15, (6.025,34.765)))
diag_rom_rom_row_decode_.add(gdstk.Reference(diag_rom_contact_17, (6.065,34.745)))
diag_rom_rom_row_decode_.add(gdstk.Reference(diag_rom_contact_16, (1.445,34.765)))
diag_rom_rom_row_decode_.add(gdstk.Reference(diag_rom_contact_17, (1.485,34.745)))
diag_rom_rom_row_decode_.add(gdstk.Reference(diag_rom_contact_15, (21.255,34.765)))
diag_rom_rom_row_decode_.add(gdstk.Reference(diag_rom_contact_17, (21.295,34.745)))
diag_rom_rom_row_decode_.add(gdstk.Reference(diag_rom_contact_16, (13.015,34.765)))
diag_rom_rom_row_decode_.add(gdstk.Reference(diag_rom_contact_17, (13.055,34.745)))
diag_rom_rom_row_decode_.add(gdstk.Reference(diag_rom_contact_15, (6.025,43.445)))
diag_rom_rom_row_decode_.add(gdstk.Reference(diag_rom_contact_17, (6.065,43.425)))
diag_rom_rom_row_decode_.add(gdstk.Reference(diag_rom_contact_16, (1.445,43.445)))
diag_rom_rom_row_decode_.add(gdstk.Reference(diag_rom_contact_17, (1.485,43.425)))
diag_rom_rom_row_decode_.add(gdstk.Reference(diag_rom_contact_15, (21.255,43.445)))
diag_rom_rom_row_decode_.add(gdstk.Reference(diag_rom_contact_17, (21.295,43.425)))
diag_rom_rom_row_decode_.add(gdstk.Reference(diag_rom_contact_16, (13.015,43.445)))
diag_rom_rom_row_decode_.add(gdstk.Reference(diag_rom_contact_17, (13.055,43.425)))
diag_rom_rom_row_decode_.add(gdstk.Reference(diag_rom_contact_15, (6.025,52.125)))
diag_rom_rom_row_decode_.add(gdstk.Reference(diag_rom_contact_17, (6.065,52.105)))
diag_rom_rom_row_decode_.add(gdstk.Reference(diag_rom_contact_16, (1.445,52.125)))
diag_rom_rom_row_decode_.add(gdstk.Reference(diag_rom_contact_17, (1.485,52.105)))
diag_rom_rom_row_decode_.add(gdstk.Reference(diag_rom_contact_15, (21.255,52.125)))
diag_rom_rom_row_decode_.add(gdstk.Reference(diag_rom_contact_17, (21.295,52.105)))
diag_rom_rom_row_decode_.add(gdstk.Reference(diag_rom_contact_16, (13.015,52.125)))
diag_rom_rom_row_decode_.add(gdstk.Reference(diag_rom_contact_17, (13.055,52.105)))
diag_rom_rom_row_decode_.add(gdstk.Reference(diag_rom_contact_15, (6.025,60.805)))
diag_rom_rom_row_decode_.add(gdstk.Reference(diag_rom_contact_17, (6.065,60.785)))
diag_rom_rom_row_decode_.add(gdstk.Reference(diag_rom_contact_16, (1.445,60.805)))
diag_rom_rom_row_decode_.add(gdstk.Reference(diag_rom_contact_17, (1.485,60.785)))
diag_rom_rom_row_decode_.add(gdstk.Reference(diag_rom_contact_15, (21.255,60.805)))
diag_rom_rom_row_decode_.add(gdstk.Reference(diag_rom_contact_17, (21.295,60.785)))
diag_rom_rom_row_decode_.add(gdstk.Reference(diag_rom_contact_16, (13.015,60.805)))
diag_rom_rom_row_decode_.add(gdstk.Reference(diag_rom_contact_17, (13.055,60.785)))
diag_rom_rom_row_decode_.add(gdstk.Label('in_0', (0.385,0.94), layer=67, texttype=5))
diag_rom_rom_row_decode_.add(gdstk.Label('out_0', (25.055,0.94), layer=67, texttype=5))
diag_rom_rom_row_decode_.add(gdstk.Label('in_1', (0.385,1.96), layer=67, texttype=5))
diag_rom_rom_row_decode_.add(gdstk.Label('out_1', (25.055,1.96), layer=67, texttype=5))
diag_rom_rom_row_decode_.add(gdstk.Label('in_2', (0.385,2.98), layer=67, texttype=5))
diag_rom_rom_row_decode_.add(gdstk.Label('out_2', (25.055,2.98), layer=67, texttype=5))
diag_rom_rom_row_decode_.add(gdstk.Label('in_3', (0.385,4), layer=67, texttype=5))
diag_rom_rom_row_decode_.add(gdstk.Label('out_3', (25.055,4), layer=67, texttype=5))
diag_rom_rom_row_decode_.add(gdstk.Label('in_4', (0.385,5.02), layer=67, texttype=5))
diag_rom_rom_row_decode_.add(gdstk.Label('out_4', (25.055,5.02), layer=67, texttype=5))
diag_rom_rom_row_decode_.add(gdstk.Label('in_5', (0.385,6.04), layer=67, texttype=5))
diag_rom_rom_row_decode_.add(gdstk.Label('out_5', (25.055,6.04), layer=67, texttype=5))
diag_rom_rom_row_decode_.add(gdstk.Label('in_6', (0.385,7.06), layer=67, texttype=5))
diag_rom_rom_row_decode_.add(gdstk.Label('out_6', (25.055,7.06), layer=67, texttype=5))
diag_rom_rom_row_decode_.add(gdstk.Label('in_7', (0.385,8.08), layer=67, texttype=5))
diag_rom_rom_row_decode_.add(gdstk.Label('out_7', (25.055,8.08), layer=67, texttype=5))
diag_rom_rom_row_decode_.add(gdstk.Label('in_8', (0.385,9.62), layer=67, texttype=5))
diag_rom_rom_row_decode_.add(gdstk.Label('out_8', (25.055,9.62), layer=67, texttype=5))
diag_rom_rom_row_decode_.add(gdstk.Label('in_9', (0.385,10.64), layer=67, texttype=5))
diag_rom_rom_row_decode_.add(gdstk.Label('out_9', (25.055,10.64), layer=67, texttype=5))
diag_rom_rom_row_decode_.add(gdstk.Label('in_10', (0.385,11.66), layer=67, texttype=5))
diag_rom_rom_row_decode_.add(gdstk.Label('out_10', (25.055,11.66), layer=67, texttype=5))
diag_rom_rom_row_decode_.add(gdstk.Label('in_11', (0.385,12.68), layer=67, texttype=5))
diag_rom_rom_row_decode_.add(gdstk.Label('out_11', (25.055,12.68), layer=67, texttype=5))
diag_rom_rom_row_decode_.add(gdstk.Label('in_12', (0.385,13.7), layer=67, texttype=5))
diag_rom_rom_row_decode_.add(gdstk.Label('out_12', (25.055,13.7), layer=67, texttype=5))
diag_rom_rom_row_decode_.add(gdstk.Label('in_13', (0.385,14.72), layer=67, texttype=5))
diag_rom_rom_row_decode_.add(gdstk.Label('out_13', (25.055,14.72), layer=67, texttype=5))
diag_rom_rom_row_decode_.add(gdstk.Label('in_14', (0.385,15.74), layer=67, texttype=5))
diag_rom_rom_row_decode_.add(gdstk.Label('out_14', (25.055,15.74), layer=67, texttype=5))
diag_rom_rom_row_decode_.add(gdstk.Label('in_15', (0.385,16.76), layer=67, texttype=5))
diag_rom_rom_row_decode_.add(gdstk.Label('out_15', (25.055,16.76), layer=67, texttype=5))
diag_rom_rom_row_decode_.add(gdstk.Label('in_16', (0.385,18.3), layer=67, texttype=5))
diag_rom_rom_row_decode_.add(gdstk.Label('out_16', (25.055,18.3), layer=67, texttype=5))
diag_rom_rom_row_decode_.add(gdstk.Label('in_17', (0.385,19.32), layer=67, texttype=5))
diag_rom_rom_row_decode_.add(gdstk.Label('out_17', (25.055,19.32), layer=67, texttype=5))
diag_rom_rom_row_decode_.add(gdstk.Label('in_18', (0.385,20.34), layer=67, texttype=5))
diag_rom_rom_row_decode_.add(gdstk.Label('out_18', (25.055,20.34), layer=67, texttype=5))
diag_rom_rom_row_decode_.add(gdstk.Label('in_19', (0.385,21.36), layer=67, texttype=5))
diag_rom_rom_row_decode_.add(gdstk.Label('out_19', (25.055,21.36), layer=67, texttype=5))
diag_rom_rom_row_decode_.add(gdstk.Label('in_20', (0.385,22.38), layer=67, texttype=5))
diag_rom_rom_row_decode_.add(gdstk.Label('out_20', (25.055,22.38), layer=67, texttype=5))
diag_rom_rom_row_decode_.add(gdstk.Label('in_21', (0.385,23.4), layer=67, texttype=5))
diag_rom_rom_row_decode_.add(gdstk.Label('out_21', (25.055,23.4), layer=67, texttype=5))
diag_rom_rom_row_decode_.add(gdstk.Label('in_22', (0.385,24.42), layer=67, texttype=5))
diag_rom_rom_row_decode_.add(gdstk.Label('out_22', (25.055,24.42), layer=67, texttype=5))
diag_rom_rom_row_decode_.add(gdstk.Label('in_23', (0.385,25.44), layer=67, texttype=5))
diag_rom_rom_row_decode_.add(gdstk.Label('out_23', (25.055,25.44), layer=67, texttype=5))
diag_rom_rom_row_decode_.add(gdstk.Label('in_24', (0.385,26.98), layer=67, texttype=5))
diag_rom_rom_row_decode_.add(gdstk.Label('out_24', (25.055,26.98), layer=67, texttype=5))
diag_rom_rom_row_decode_.add(gdstk.Label('in_25', (0.385,28), layer=67, texttype=5))
diag_rom_rom_row_decode_.add(gdstk.Label('out_25', (25.055,28), layer=67, texttype=5))
diag_rom_rom_row_decode_.add(gdstk.Label('in_26', (0.385,29.02), layer=67, texttype=5))
diag_rom_rom_row_decode_.add(gdstk.Label('out_26', (25.055,29.02), layer=67, texttype=5))
diag_rom_rom_row_decode_.add(gdstk.Label('in_27', (0.385,30.04), layer=67, texttype=5))
diag_rom_rom_row_decode_.add(gdstk.Label('out_27', (25.055,30.04), layer=67, texttype=5))
diag_rom_rom_row_decode_.add(gdstk.Label('in_28', (0.385,31.06), layer=67, texttype=5))
diag_rom_rom_row_decode_.add(gdstk.Label('out_28', (25.055,31.06), layer=67, texttype=5))
diag_rom_rom_row_decode_.add(gdstk.Label('in_29', (0.385,32.08), layer=67, texttype=5))
diag_rom_rom_row_decode_.add(gdstk.Label('out_29', (25.055,32.08), layer=67, texttype=5))
diag_rom_rom_row_decode_.add(gdstk.Label('in_30', (0.385,33.1), layer=67, texttype=5))
diag_rom_rom_row_decode_.add(gdstk.Label('out_30', (25.055,33.1), layer=67, texttype=5))
diag_rom_rom_row_decode_.add(gdstk.Label('in_31', (0.385,34.12), layer=67, texttype=5))
diag_rom_rom_row_decode_.add(gdstk.Label('out_31', (25.055,34.12), layer=67, texttype=5))
diag_rom_rom_row_decode_.add(gdstk.Label('in_32', (0.385,35.66), layer=67, texttype=5))
diag_rom_rom_row_decode_.add(gdstk.Label('out_32', (25.055,35.66), layer=67, texttype=5))
diag_rom_rom_row_decode_.add(gdstk.Label('in_33', (0.385,36.68), layer=67, texttype=5))
diag_rom_rom_row_decode_.add(gdstk.Label('out_33', (25.055,36.68), layer=67, texttype=5))
diag_rom_rom_row_decode_.add(gdstk.Label('in_34', (0.385,37.7), layer=67, texttype=5))
diag_rom_rom_row_decode_.add(gdstk.Label('out_34', (25.055,37.7), layer=67, texttype=5))
diag_rom_rom_row_decode_.add(gdstk.Label('in_35', (0.385,38.72), layer=67, texttype=5))
diag_rom_rom_row_decode_.add(gdstk.Label('out_35', (25.055,38.72), layer=67, texttype=5))
diag_rom_rom_row_decode_.add(gdstk.Label('in_36', (0.385,39.74), layer=67, texttype=5))
diag_rom_rom_row_decode_.add(gdstk.Label('out_36', (25.055,39.74), layer=67, texttype=5))
diag_rom_rom_row_decode_.add(gdstk.Label('in_37', (0.385,40.76), layer=67, texttype=5))
diag_rom_rom_row_decode_.add(gdstk.Label('out_37', (25.055,40.76), layer=67, texttype=5))
diag_rom_rom_row_decode_.add(gdstk.Label('in_38', (0.385,41.78), layer=67, texttype=5))
diag_rom_rom_row_decode_.add(gdstk.Label('out_38', (25.055,41.78), layer=67, texttype=5))
diag_rom_rom_row_decode_.add(gdstk.Label('in_39', (0.385,42.8), layer=67, texttype=5))
diag_rom_rom_row_decode_.add(gdstk.Label('out_39', (25.055,42.8), layer=67, texttype=5))
diag_rom_rom_row_decode_.add(gdstk.Label('in_40', (0.385,44.34), layer=67, texttype=5))
diag_rom_rom_row_decode_.add(gdstk.Label('out_40', (25.055,44.34), layer=67, texttype=5))
diag_rom_rom_row_decode_.add(gdstk.Label('in_41', (0.385,45.36), layer=67, texttype=5))
diag_rom_rom_row_decode_.add(gdstk.Label('out_41', (25.055,45.36), layer=67, texttype=5))
diag_rom_rom_row_decode_.add(gdstk.Label('in_42', (0.385,46.38), layer=67, texttype=5))
diag_rom_rom_row_decode_.add(gdstk.Label('out_42', (25.055,46.38), layer=67, texttype=5))
diag_rom_rom_row_decode_.add(gdstk.Label('in_43', (0.385,47.4), layer=67, texttype=5))
diag_rom_rom_row_decode_.add(gdstk.Label('out_43', (25.055,47.4), layer=67, texttype=5))
diag_rom_rom_row_decode_.add(gdstk.Label('in_44', (0.385,48.42), layer=67, texttype=5))
diag_rom_rom_row_decode_.add(gdstk.Label('out_44', (25.055,48.42), layer=67, texttype=5))
diag_rom_rom_row_decode_.add(gdstk.Label('in_45', (0.385,49.44), layer=67, texttype=5))
diag_rom_rom_row_decode_.add(gdstk.Label('out_45', (25.055,49.44), layer=67, texttype=5))
diag_rom_rom_row_decode_.add(gdstk.Label('in_46', (0.385,50.46), layer=67, texttype=5))
diag_rom_rom_row_decode_.add(gdstk.Label('out_46', (25.055,50.46), layer=67, texttype=5))
diag_rom_rom_row_decode_.add(gdstk.Label('in_47', (0.385,51.48), layer=67, texttype=5))
diag_rom_rom_row_decode_.add(gdstk.Label('out_47', (25.055,51.48), layer=67, texttype=5))
diag_rom_rom_row_decode_.add(gdstk.Label('in_48', (0.385,53.02), layer=67, texttype=5))
diag_rom_rom_row_decode_.add(gdstk.Label('out_48', (25.055,53.02), layer=67, texttype=5))
diag_rom_rom_row_decode_.add(gdstk.Label('in_49', (0.385,54.04), layer=67, texttype=5))
diag_rom_rom_row_decode_.add(gdstk.Label('out_49', (25.055,54.04), layer=67, texttype=5))
diag_rom_rom_row_decode_.add(gdstk.Label('in_50', (0.385,55.06), layer=67, texttype=5))
diag_rom_rom_row_decode_.add(gdstk.Label('out_50', (25.055,55.06), layer=67, texttype=5))
diag_rom_rom_row_decode_.add(gdstk.Label('in_51', (0.385,56.08), layer=67, texttype=5))
diag_rom_rom_row_decode_.add(gdstk.Label('out_51', (25.055,56.08), layer=67, texttype=5))
diag_rom_rom_row_decode_.add(gdstk.Label('in_52', (0.385,57.1), layer=67, texttype=5))
diag_rom_rom_row_decode_.add(gdstk.Label('out_52', (25.055,57.1), layer=67, texttype=5))
diag_rom_rom_row_decode_.add(gdstk.Label('in_53', (0.385,58.12), layer=67, texttype=5))
diag_rom_rom_row_decode_.add(gdstk.Label('out_53', (25.055,58.12), layer=67, texttype=5))
diag_rom_rom_row_decode_.add(gdstk.Label('in_54', (0.385,59.14), layer=67, texttype=5))
diag_rom_rom_row_decode_.add(gdstk.Label('out_54', (25.055,59.14), layer=67, texttype=5))
diag_rom_rom_row_decode_.add(gdstk.Label('in_55', (0.385,60.16), layer=67, texttype=5))
diag_rom_rom_row_decode_.add(gdstk.Label('out_55', (25.055,60.16), layer=67, texttype=5))
diag_rom_rom_row_decode_.add(gdstk.Label('in_56', (0.385,61.7), layer=67, texttype=5))
diag_rom_rom_row_decode_.add(gdstk.Label('out_56', (25.055,61.7), layer=67, texttype=5))
diag_rom_rom_row_decode_.add(gdstk.Label('in_57', (0.385,62.72), layer=67, texttype=5))
diag_rom_rom_row_decode_.add(gdstk.Label('out_57', (25.055,62.72), layer=67, texttype=5))
diag_rom_rom_row_decode_.add(gdstk.Label('in_58', (0.385,63.74), layer=67, texttype=5))
diag_rom_rom_row_decode_.add(gdstk.Label('out_58', (25.055,63.74), layer=67, texttype=5))
diag_rom_rom_row_decode_.add(gdstk.Label('in_59', (0.385,64.76), layer=67, texttype=5))
diag_rom_rom_row_decode_.add(gdstk.Label('out_59', (25.055,64.76), layer=67, texttype=5))
diag_rom_rom_row_decode_.add(gdstk.Label('in_60', (0.385,65.78), layer=67, texttype=5))
diag_rom_rom_row_decode_.add(gdstk.Label('out_60', (25.055,65.78), layer=67, texttype=5))
diag_rom_rom_row_decode_.add(gdstk.Label('in_61', (0.385,66.8), layer=67, texttype=5))
diag_rom_rom_row_decode_.add(gdstk.Label('out_61', (25.055,66.8), layer=67, texttype=5))
diag_rom_rom_row_decode_.add(gdstk.Label('in_62', (0.385,67.82), layer=67, texttype=5))
diag_rom_rom_row_decode_.add(gdstk.Label('out_62', (25.055,67.82), layer=67, texttype=5))
diag_rom_rom_row_decode_.add(gdstk.Label('in_63', (0.385,68.84), layer=67, texttype=5))
diag_rom_rom_row_decode_.add(gdstk.Label('out_63', (25.055,68.84), layer=67, texttype=5))
diag_rom_rom_row_decode_.add(gdstk.Label('gnd', (1.65,0.1), layer=68, texttype=5))
diag_rom_rom_row_decode_.add(gdstk.Label('gnd', (1.65,69.44), layer=68, texttype=5))
diag_rom_rom_row_decode_.add(gdstk.Label('gnd', (13.22,69.44), layer=68, texttype=5))
diag_rom_rom_row_decode_.add(gdstk.Label('gnd', (13.22,0.1), layer=68, texttype=5))
diag_rom_rom_row_decode_.add(gdstk.Label('vdd', (21.46,69.44), layer=68, texttype=5))
diag_rom_rom_row_decode_.add(gdstk.Label('vdd', (6.23,0.1), layer=68, texttype=5))
diag_rom_rom_row_decode_.add(gdstk.Label('vdd', (6.23,69.44), layer=68, texttype=5))
diag_rom_rom_row_decode_.add(gdstk.Label('vdd', (21.46,0.1), layer=68, texttype=5))

lib.write_gds('diag_rom_rom_row_decode_wordline_buffer.gds')
